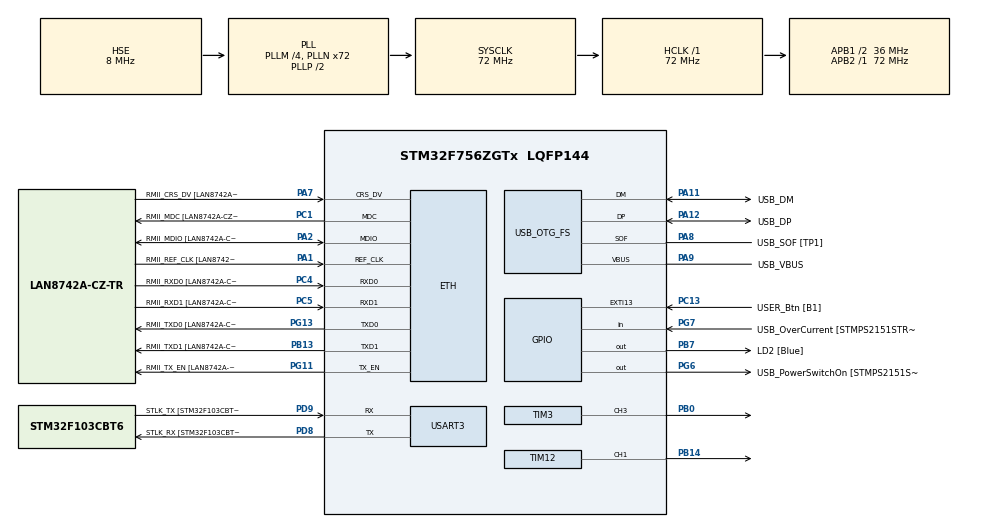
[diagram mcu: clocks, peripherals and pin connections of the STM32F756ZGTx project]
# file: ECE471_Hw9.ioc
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ADC1.Channel-0\#ChannelRegularConversion=ADC_CHANNEL_TEMPSENSOR
ADC1.NbrOfConversionFlag=1
ADC1.Rank-0\#ChannelRegularConversion=1
ADC1.SamplingTime-0\#ChannelRegularConversion=ADC_SAMPLETIME_480CYCLES
ADC1.master=1
ETH.MediaInterface=HAL_ETH_RMII_MODE
ETH.PHY_Name=LAN8742A_PHY_ADDRESS
ETH.PHY_Value=0
ETH.PhyAddress=0
FREERTOS.Tasks01=defaultTask,0,1024,StartDefaultTask,Default,NULL,Dynamic,NULL,NULL
LWIP.BSP.number=1
LWIP.LWIP_HTTPD=1
LWIP.LWIP_HTTPD_CGI=1
LWIP.LWIP_HTTPD_CGI_SSI=0
LWIP.LWIP_HTTPD_SSI=1
LWIP.LWIP_HTTPD_SSI_BY_FILE_EXTENSION=1
LWIP.LWIP_HTTPD_SSI_RAW=1
LWIP.Version=v2.1.2_Cube
LWIP0.BSP.STBoard=false
LWIP0.BSP.api=BSP_COMPONENT_DRIVER
LWIP0.BSP.component=LAN8742
LWIP0.BSP.instance=LAN8742
LWIP0.BSP.name=Driver_PHY
LWIP0.BSP.semaphore=S_LAN8742
LWIP0.BSP.solution=LAN8742
Mcu.Family=STM32F7
Mcu.Name=STM32F756ZGTx
Mcu.Package=LQFP144
NVIC.ETH_IRQn=true\:5\:0\:false\:false\:true\:true\:false\:true\:true
NVIC.PriorityGroup=NVIC_PRIORITYGROUP_4
NVIC.TIM2_IRQn=true\:15\:0\:false\:false\:true\:false\:false\:true\:true
NVIC.TimeBase=TIM2_IRQn
NVIC.TimeBaseIP=TIM2
PA1.GPIO_Label=RMII_REF_CLK [LAN8742A-CZ-TR_REFCLK0]
PA1.Mode=RMII
PA1.Signal=ETH_REF_CLK
PA10.GPIO_Label=USB_ID
PA10.Signal=USB_OTG_FS_ID
PA11.GPIO_Label=USB_DM
PA11.Mode=Device_Only
PA11.Signal=USB_OTG_FS_DM
PA12.GPIO_Label=USB_DP
PA12.Mode=Device_Only
PA12.Signal=USB_OTG_FS_DP
PA13.GPIO_Label=TMS
PA13.Mode=Serial_Wire
PA13.Signal=SYS_JTMS-SWDIO
PA14.GPIO_Label=TCK
PA14.Mode=Serial_Wire
PA14.Signal=SYS_JTCK-SWCLK
PA2.GPIO_Label=RMII_MDIO [LAN8742A-CZ-TR_MDIO]
PA2.Mode=RMII
PA2.Signal=ETH_MDIO
PA7.GPIO_Label=RMII_CRS_DV [LAN8742A-CZ-TR_CRS_DV]
PA7.Mode=RMII
PA7.Signal=ETH_CRS_DV
PA8.GPIO_Label=USB_SOF [TP1]
PA8.Mode=Activate_SOF_FS
PA8.Signal=USB_OTG_FS_SOF
PA9.GPIO_Label=USB_VBUS
PA9.Mode=Activate_VBUS
PA9.Signal=USB_OTG_FS_VBUS
PB0.Signal=S_TIM3_CH3
PB13.GPIO_Label=RMII_TXD1 [LAN8742A-CZ-TR_TXD1]
PB13.Mode=RMII
PB13.Signal=ETH_TXD1
PB14.Signal=S_TIM12_CH1
PB3.GPIO_Label=SW0
PB3.Signal=SYS_JTDO-SWO
PB7.GPIO_Label=LD2 [Blue]
PB7.Signal=GPIO_Output
PC1.GPIO_Label=RMII_MDC [LAN8742A-CZ-TR_MDC]
PC1.Mode=RMII
PC1.Signal=ETH_MDC
PC13.GPIO_Label=USER_Btn [B1]
PC13.Signal=GPXTI13
PC14/OSC32_IN.Mode=LSE-External-Oscillator
PC14/OSC32_IN.Signal=RCC_OSC32_IN
PC15/OSC32_OUT.Mode=LSE-External-Oscillator
PC15/OSC32_OUT.Signal=RCC_OSC32_OUT
PC4.GPIO_Label=RMII_RXD0 [LAN8742A-CZ-TR_RXD0]
PC4.Mode=RMII
PC4.Signal=ETH_RXD0
PC5.GPIO_Label=RMII_RXD1 [LAN8742A-CZ-TR_RXD1]
PC5.Mode=RMII
PC5.Signal=ETH_RXD1
PD8.GPIO_Label=STLK_RX [STM32F103CBT6_PA3]
PD8.Mode=Asynchronous
PD8.Signal=USART3_TX
PD9.GPIO_Label=STLK_TX [STM32F103CBT6_PA2]
PD9.Mode=Asynchronous
PD9.Signal=USART3_RX
PG11.GPIO_Label=RMII_TX_EN [LAN8742A-CZ-TR_TXEN]
PG11.Mode=RMII
PG11.Signal=ETH_TX_EN
PG13.GPIO_Label=RMII_TXD0 [LAN8742A-CZ-TR_TXD0]
PG13.Mode=RMII
PG13.Signal=ETH_TXD0
PG6.GPIO_Label=USB_PowerSwitchOn [STMPS2151STR_EN]
PG6.Signal=GPIO_Output
PG7.GPIO_Label=USB_OverCurrent [STMPS2151STR_FAULT]
PG7.Signal=GPIO_Input
PH0/OSC_IN.GPIO_Label=MCO [STM32F103CBT6_PA8]
PH0/OSC_IN.Mode=HSE-External-Clock-Source
PH0/OSC_IN.Signal=RCC_OSC_IN
PH1/OSC_OUT.Mode=HSE-External-Clock-Source
PH1/OSC_OUT.Signal=RCC_OSC_OUT
ProjectManager.HeapSize=0x200
ProjectManager.StackSize=0x400
ProjectManager.TargetToolchain=STM32CubeIDE
RCC.48MHZClocksFreq_Value=24000000
RCC.AHBFreq_Value=72000000
RCC.APB1CLKDivider=RCC_HCLK_DIV2
RCC.APB1Freq_Value=36000000
RCC.APB1TimFreq_Value=72000000
RCC.APB2Freq_Value=72000000
RCC.APB2TimFreq_Value=72000000
RCC.CortexFreq_Value=72000000
RCC.HCLKFreq_Value=72000000
RCC.HSE_VALUE=8000000
RCC.HSI_VALUE=16000000
RCC.PLLM=4
RCC.PLLMUL=RCC_PLL_MUL9
RCC.PLLN=72
RCC.PLLQ=3
RCC.PRESCALERUSB=RCC_USBCLKSOURCE_PLL_DIV1_5
RCC.SYSCLKFreq_VALUE=72000000
RCC.SYSCLKSource=RCC_SYSCLKSOURCE_PLLCLK
RCC.SYSCLKSourceVirtual=RCC_SYSCLKSOURCE_PLLCLK
RCC.USBFreq_Value=48000000
RCC.VCOOutputFreq_Value=144000000
SH.S_TIM12_CH1.0=TIM12_CH1,PWM Generation1 CH1
SH.S_TIM3_CH3.0=TIM3_CH3,PWM Generation3 CH3
TIM12.Channel-PWM\ Generation1\ CH1=TIM_CHANNEL_1
TIM3.Channel-PWM\ Generation3\ CH3=TIM_CHANNEL_3
USART3.VirtualMode-Asynchronous=VM_ASYNC
USB_OTG_FS.VirtualMode=Device_Only
VP_ADC1_TempSens_Input.Mode=IN-TempSens
VP_FREERTOS_VS_CMSIS_V1.Mode=CMSIS_V1
VP_LWIP_VS_Enabled.Mode=Enabled
VP_SYS_VS_tim2.Mode=TIM2
VP_TIM12_VS_ClockSourceINT.Mode=Internal
VP_TIM3_VS_ClockSourceINT.Mode=Internal
board=NUCLEO-F756ZG

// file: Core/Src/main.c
/* USER CODE BEGIN Header */
/**
  ******************************************************************************
  * @file           : main.c
  * @brief          : Main program body
  ******************************************************************************
  * @attention
  *
  * Copyright (c) 2023 STMicroelectronics.
  * All rights reserved.
  *
  * This software is licensed under terms that can be found in the LICENSE file
  * in the root directory of this software component.
  * If no LICENSE file comes with this software, it is provided AS-IS.
  *
  ******************************************************************************
  */
/* USER CODE END Header */
#include "main.h"
#include "cmsis_os.h"
#include "lwip.h"

/* USER CODE BEGIN Includes */
#include "lwip/apps/httpd.h"
#include <string.h>
/* USER CODE END Includes */

/* USER CODE BEGIN PTD */
enum led {
	red,
	green
};

static enum led redLed = red;
static enum led greenLed = green;
static uint32_t temp =0;
static int max = 65535;

void setPWM(enum led led, int value);
/* USER CODE END PTD */

/* USER CODE BEGIN PD */
//function sets PWM to a desired value from 0 - 11
void setPWM(enum led led, int value){

	int dutyCycle = 0;

		switch(value){	//set the duty cycle
			case 1:
				dutyCycle =(max/10);
				break;
			case 2:
				dutyCycle =2*(max/10);
				break;
			case 3:
				dutyCycle =3*(max/10);
				break;
			case 4:
				dutyCycle =4*(max/10);
				break;
			case 5:
				dutyCycle =5*(max/10);
				break;
			case 6:
				dutyCycle =6*(max/10);
				break;
			case 7:
				dutyCycle =7*(max/10);
				break;
			default:
				dutyCycle =3*(max/10);
		}
		//make sure duty cycle stays within the range
		if(value>7){
			dutyCycle =7*(max/10);
		}
		else if(value<1){
			dutyCycle =(max/10);
		}

		if(led == green){
			TIM3->CCR3 = dutyCycle;
		}

		else if (led == red){
			TIM12->CCR1 = dutyCycle;
		}
}
/* USER CODE END PD */

ADC_HandleTypeDef hadc1;

TIM_HandleTypeDef htim3;
TIM_HandleTypeDef htim12;

UART_HandleTypeDef huart3;

PCD_HandleTypeDef hpcd_USB_OTG_FS;

osThreadId defaultTaskHandle;

void SystemClock_Config(void);
static void MX_GPIO_Init(void);
static void MX_USART3_UART_Init(void);
static void MX_USB_OTG_FS_PCD_Init(void);
static void MX_ADC1_Init(void);
static void MX_TIM3_Init(void);
static void MX_TIM12_Init(void);
void StartDefaultTask(void const * argument);

/* USER CODE BEGIN 0 */
#define custom_SSI_tag_num 1
const char* custom_SSI_tags[custom_SSI_tag_num] = {"ltemp"};

uint16_t custom_SSI_handler(const char* ssi_tag_name, char *pcInsert, int iInsertLen)
{
  if ( iInsertLen < 10 ) {
      // if the buffer size is smaller than the longest response then indicate an error
      return(-1);
  }

  if (strcmp(ssi_tag_name, custom_SSI_tags[0])==0) {
	  char buffer[6];

          strcpy(pcInsert,itoa(temp, buffer,10));

      return(strlen(pcInsert));
  }
else {
      // otherwise, return unrecognized tag error
    return(-1);
  }

}

/*
 * Function pointer for a CGI script handler.
 *
 * The function should return a pointer to a character string which is the
 * path and filename of the response that is to be sent to the connected
 * browser, for example "/thanks.htm" or "/response/error.ssi".
 *
 * Requests intended for use by this CGI mechanism must be sent using the GET
 * method (which encodes all parameters within the URI rather than in a block
 * later in the request). Attempts to use the POST method will result in the
 * request being ignored.
 *
 */

const char * setRED(int iIndex, int iNumParams, char *pcParam[], char *pcValue[])
{

	  if (iNumParams==1) {
	        setPWM(redLed, atoi(pcValue[0]));
		}
    return("/index.shtml");
}

const char * setGRN(int iIndex, int iNumParams, char *pcParam[], char *pcValue[])
{

    if (iNumParams==1) {
        setPWM(greenLed, atoi(pcValue[0]));
	}

    return("/index.shtml");
}

const char * setBLU(int iIndex, int iNumParams, char *pcParam[], char *pcValue[])
{
    if (iNumParams==1) {
        if (atoi(pcValue[0])==1) {
            HAL_GPIO_WritePin(GPIOB, GPIO_PIN_14, GPIO_PIN_SET);

        } else {
            HAL_GPIO_WritePin(GPIOB, GPIO_PIN_14, GPIO_PIN_RESET);
        }
    }
    return("/index.shtml");
}

const char * setALL(int iIndex, int iNumParams, char *pcParam[], char *pcValue[])
{
    // Warning: use atoi_r instead of atoi in case you also use this function inside a RTOS task
    for (int i=0; i<iNumParams; i++) {
        if (strcmp(pcParam[i],"red")==0) {

        	setPWM(redLed, atoi(pcValue[i]));

        } else if (strcmp(pcParam[i],"green")==0) {

			setPWM(greenLed, atoi(pcValue[i]));

        } else if (strcmp(pcParam[i],"blue")==0) {
            if (atoi(pcValue[i])==1) {
                HAL_GPIO_WritePin(GPIOB, GPIO_PIN_7, GPIO_PIN_SET);
            } else {
                HAL_GPIO_WritePin(GPIOB, GPIO_PIN_7, GPIO_PIN_RESET);
            }
        } // else invalid parameters are simply ignored in this example
    }
    // we return the status page as confirmation in this example
    return("/index.shtml");
}

#define custon_CGI_handler_num 4
const tCGI custom_CGI_handlers[custon_CGI_handler_num] = {
    //  file name   function called
    {"/setall.cgi",   setALL},
    {"/setred.cgi",   setRED},
    {"/setgreen.cgi", setGRN},
    {"/setblue.cgi",  setBLU}
};

/* USER CODE END 0 */

int main(void)
{

  /* MCU Configuration--------------------------------------------------------*/

  /* Reset of all peripherals, Initializes the Flash interface and the Systick. */
  HAL_Init();

  /* Configure the system clock */
  SystemClock_Config();

  /* Initialize all configured peripherals */
  MX_GPIO_Init();
  MX_USART3_UART_Init();
  MX_USB_OTG_FS_PCD_Init();
  MX_ADC1_Init();
  MX_TIM3_Init();
  MX_TIM12_Init();

  /* Create the thread(s) */
  /* definition and creation of defaultTask */
  osThreadDef(defaultTask, StartDefaultTask, osPriorityNormal, 0, 1024);
  defaultTaskHandle = osThreadCreate(osThread(defaultTask), NULL);

  /* Start scheduler */
  osKernelStart();
  /* We should never get here as control is now taken by the scheduler */
  /* Infinite loop */
  while (1)
  {

  }
}

void SystemClock_Config(void)
{
  RCC_OscInitTypeDef RCC_OscInitStruct = {0};
  RCC_ClkInitTypeDef RCC_ClkInitStruct = {0};

  /** Configure LSE Drive Capability
  */
  HAL_PWR_EnableBkUpAccess();

  /** Configure the main internal regulator output voltage
  */
  __HAL_RCC_PWR_CLK_ENABLE();
  __HAL_PWR_VOLTAGESCALING_CONFIG(PWR_REGULATOR_VOLTAGE_SCALE3);

  /** Initializes the RCC Oscillators according to the specified parameters
  * in the RCC_OscInitTypeDef structure.
  */
  RCC_OscInitStruct.OscillatorType = RCC_OSCILLATORTYPE_HSE;
  RCC_OscInitStruct.HSEState = RCC_HSE_BYPASS;
  RCC_OscInitStruct.PLL.PLLState = RCC_PLL_ON;
  RCC_OscInitStruct.PLL.PLLSource = RCC_PLLSOURCE_HSE;
  RCC_OscInitStruct.PLL.PLLM = 4;
  RCC_OscInitStruct.PLL.PLLN = 72;
  RCC_OscInitStruct.PLL.PLLP = RCC_PLLP_DIV2;
  RCC_OscInitStruct.PLL.PLLQ = 3;
  if (HAL_RCC_OscConfig(&RCC_OscInitStruct) != HAL_OK)
  {
    Error_Handler();
  }

  /** Initializes the CPU, AHB and APB buses clocks
  */
  RCC_ClkInitStruct.ClockType = RCC_CLOCKTYPE_HCLK|RCC_CLOCKTYPE_SYSCLK
                              |RCC_CLOCKTYPE_PCLK1|RCC_CLOCKTYPE_PCLK2;
  RCC_ClkInitStruct.SYSCLKSource = RCC_SYSCLKSOURCE_PLLCLK;
  RCC_ClkInitStruct.AHBCLKDivider = RCC_SYSCLK_DIV1;
  RCC_ClkInitStruct.APB1CLKDivider = RCC_HCLK_DIV2;
  RCC_ClkInitStruct.APB2CLKDivider = RCC_HCLK_DIV1;

  if (HAL_RCC_ClockConfig(&RCC_ClkInitStruct, FLASH_LATENCY_2) != HAL_OK)
  {
    Error_Handler();
  }
}

static void MX_ADC1_Init(void)
{

  ADC_ChannelConfTypeDef sConfig = {0};

  /** Configure the global features of the ADC (Clock, Resolution, Data Alignment and number of conversion)
  */
  hadc1.Instance = ADC1;
  hadc1.Init.ClockPrescaler = ADC_CLOCK_SYNC_PCLK_DIV2;
  hadc1.Init.Resolution = ADC_RESOLUTION_12B;
  hadc1.Init.ScanConvMode = ADC_SCAN_DISABLE;
  hadc1.Init.ContinuousConvMode = DISABLE;
  hadc1.Init.DiscontinuousConvMode = DISABLE;
  hadc1.Init.ExternalTrigConvEdge = ADC_EXTERNALTRIGCONVEDGE_NONE;
  hadc1.Init.ExternalTrigConv = ADC_SOFTWARE_START;
  hadc1.Init.DataAlign = ADC_DATAALIGN_RIGHT;
  hadc1.Init.NbrOfConversion = 1;
  hadc1.Init.DMAContinuousRequests = DISABLE;
  hadc1.Init.EOCSelection = ADC_EOC_SINGLE_CONV;
  if (HAL_ADC_Init(&hadc1) != HAL_OK)
  {
    Error_Handler();
  }

  /** Configure for the selected ADC regular channel its corresponding rank in the sequencer and its sample time.
  */
  sConfig.Channel = ADC_CHANNEL_TEMPSENSOR;
  sConfig.Rank = ADC_REGULAR_RANK_1;
  sConfig.SamplingTime = ADC_SAMPLETIME_480CYCLES;
  if (HAL_ADC_ConfigChannel(&hadc1, &sConfig) != HAL_OK)
  {
    Error_Handler();
  }

}

static void MX_TIM3_Init(void)
{

  TIM_ClockConfigTypeDef sClockSourceConfig = {0};
  TIM_MasterConfigTypeDef sMasterConfig = {0};
  TIM_OC_InitTypeDef sConfigOC = {0};

  htim3.Instance = TIM3;
  htim3.Init.Prescaler = 0;
  htim3.Init.CounterMode = TIM_COUNTERMODE_UP;
  htim3.Init.Period = 65535;
  htim3.Init.ClockDivision = TIM_CLOCKDIVISION_DIV1;
  htim3.Init.AutoReloadPreload = TIM_AUTORELOAD_PRELOAD_DISABLE;
  if (HAL_TIM_Base_Init(&htim3) != HAL_OK)
  {
    Error_Handler();
  }
  sClockSourceConfig.ClockSource = TIM_CLOCKSOURCE_INTERNAL;
  if (HAL_TIM_ConfigClockSource(&htim3, &sClockSourceConfig) != HAL_OK)
  {
    Error_Handler();
  }
  if (HAL_TIM_PWM_Init(&htim3) != HAL_OK)
  {
    Error_Handler();
  }
  sMasterConfig.MasterOutputTrigger = TIM_TRGO_RESET;
  sMasterConfig.MasterSlaveMode = TIM_MASTERSLAVEMODE_DISABLE;
  if (HAL_TIMEx_MasterConfigSynchronization(&htim3, &sMasterConfig) != HAL_OK)
  {
    Error_Handler();
  }
  sConfigOC.OCMode = TIM_OCMODE_PWM1;
  sConfigOC.Pulse = 0;
  sConfigOC.OCPolarity = TIM_OCPOLARITY_HIGH;
  sConfigOC.OCFastMode = TIM_OCFAST_DISABLE;
  if (HAL_TIM_PWM_ConfigChannel(&htim3, &sConfigOC, TIM_CHANNEL_3) != HAL_OK)
  {
    Error_Handler();
  }
  HAL_TIM_MspPostInit(&htim3);

}

static void MX_TIM12_Init(void)
{

  TIM_ClockConfigTypeDef sClockSourceConfig = {0};
  TIM_OC_InitTypeDef sConfigOC = {0};

  htim12.Instance = TIM12;
  htim12.Init.Prescaler = 0;
  htim12.Init.CounterMode = TIM_COUNTERMODE_UP;
  htim12.Init.Period = 65535;
  htim12.Init.ClockDivision = TIM_CLOCKDIVISION_DIV1;
  htim12.Init.AutoReloadPreload = TIM_AUTORELOAD_PRELOAD_DISABLE;
  if (HAL_TIM_Base_Init(&htim12) != HAL_OK)
  {
    Error_Handler();
  }
  sClockSourceConfig.ClockSource = TIM_CLOCKSOURCE_INTERNAL;
  if (HAL_TIM_ConfigClockSource(&htim12, &sClockSourceConfig) != HAL_OK)
  {
    Error_Handler();
  }
  if (HAL_TIM_PWM_Init(&htim12) != HAL_OK)
  {
    Error_Handler();
  }
  sConfigOC.OCMode = TIM_OCMODE_PWM1;
  sConfigOC.Pulse = 0;
  sConfigOC.OCPolarity = TIM_OCPOLARITY_HIGH;
  sConfigOC.OCFastMode = TIM_OCFAST_DISABLE;
  if (HAL_TIM_PWM_ConfigChannel(&htim12, &sConfigOC, TIM_CHANNEL_1) != HAL_OK)
  {
    Error_Handler();
  }
  HAL_TIM_MspPostInit(&htim12);

}

static void MX_USART3_UART_Init(void)
{

  huart3.Instance = USART3;
  huart3.Init.BaudRate = 115200;
  huart3.Init.WordLength = UART_WORDLENGTH_8B;
  huart3.Init.StopBits = UART_STOPBITS_1;
  huart3.Init.Parity = UART_PARITY_NONE;
  huart3.Init.Mode = UART_MODE_TX_RX;
  huart3.Init.HwFlowCtl = UART_HWCONTROL_NONE;
  huart3.Init.OverSampling = UART_OVERSAMPLING_16;
  huart3.Init.OneBitSampling = UART_ONE_BIT_SAMPLE_DISABLE;
  huart3.AdvancedInit.AdvFeatureInit = UART_ADVFEATURE_NO_INIT;
  if (HAL_UART_Init(&huart3) != HAL_OK)
  {
    Error_Handler();
  }

}

static void MX_USB_OTG_FS_PCD_Init(void)
{

  hpcd_USB_OTG_FS.Instance = USB_OTG_FS;
  hpcd_USB_OTG_FS.Init.dev_endpoints = 6;
  hpcd_USB_OTG_FS.Init.speed = PCD_SPEED_FULL;
  hpcd_USB_OTG_FS.Init.dma_enable = DISABLE;
  hpcd_USB_OTG_FS.Init.phy_itface = PCD_PHY_EMBEDDED;
  hpcd_USB_OTG_FS.Init.Sof_enable = ENABLE;
  hpcd_USB_OTG_FS.Init.low_power_enable = DISABLE;
  hpcd_USB_OTG_FS.Init.lpm_enable = DISABLE;
  hpcd_USB_OTG_FS.Init.vbus_sensing_enable = ENABLE;
  hpcd_USB_OTG_FS.Init.use_dedicated_ep1 = DISABLE;
  if (HAL_PCD_Init(&hpcd_USB_OTG_FS) != HAL_OK)
  {
    Error_Handler();
  }

}

static void MX_GPIO_Init(void)
{
  GPIO_InitTypeDef GPIO_InitStruct = {0};

  /* GPIO Ports Clock Enable */
  __HAL_RCC_GPIOC_CLK_ENABLE();
  __HAL_RCC_GPIOH_CLK_ENABLE();
  __HAL_RCC_GPIOA_CLK_ENABLE();
  __HAL_RCC_GPIOB_CLK_ENABLE();
  __HAL_RCC_GPIOD_CLK_ENABLE();
  __HAL_RCC_GPIOG_CLK_ENABLE();

  /*Configure GPIO pin Output Level */
  HAL_GPIO_WritePin(USB_PowerSwitchOn_GPIO_Port, USB_PowerSwitchOn_Pin, GPIO_PIN_RESET);

  /*Configure GPIO pin Output Level */
  HAL_GPIO_WritePin(LD2_GPIO_Port, LD2_Pin, GPIO_PIN_RESET);

  /*Configure GPIO pin : USER_Btn_Pin */
  GPIO_InitStruct.Pin = USER_Btn_Pin;
  GPIO_InitStruct.Mode = GPIO_MODE_IT_RISING;
  GPIO_InitStruct.Pull = GPIO_NOPULL;
  HAL_GPIO_Init(USER_Btn_GPIO_Port, &GPIO_InitStruct);

  /*Configure GPIO pin : USB_PowerSwitchOn_Pin */
  GPIO_InitStruct.Pin = USB_PowerSwitchOn_Pin;
  GPIO_InitStruct.Mode = GPIO_MODE_OUTPUT_PP;
  GPIO_InitStruct.Pull = GPIO_NOPULL;
  GPIO_InitStruct.Speed = GPIO_SPEED_FREQ_LOW;
  HAL_GPIO_Init(USB_PowerSwitchOn_GPIO_Port, &GPIO_InitStruct);

  /*Configure GPIO pin : USB_OverCurrent_Pin */
  GPIO_InitStruct.Pin = USB_OverCurrent_Pin;
  GPIO_InitStruct.Mode = GPIO_MODE_INPUT;
  GPIO_InitStruct.Pull = GPIO_NOPULL;
  HAL_GPIO_Init(USB_OverCurrent_GPIO_Port, &GPIO_InitStruct);

  /*Configure GPIO pin : LD2_Pin */
  GPIO_InitStruct.Pin = LD2_Pin;
  GPIO_InitStruct.Mode = GPIO_MODE_OUTPUT_PP;
  GPIO_InitStruct.Pull = GPIO_NOPULL;
  GPIO_InitStruct.Speed = GPIO_SPEED_FREQ_LOW;
  HAL_GPIO_Init(LD2_GPIO_Port, &GPIO_InitStruct);

}

void StartDefaultTask(void const * argument)
{
  /* init code for LWIP */
  MX_LWIP_Init();
  /* USER CODE BEGIN 5 */

   MX_TIM3_Init();
   MX_TIM12_Init();
   HAL_TIM_PWM_Start(&htim3, TIM_CHANNEL_3);
   HAL_TIM_PWM_Start(&htim12, TIM_CHANNEL_1);
   HAL_ADC_Start(&hadc1);
   HAL_ADC_PollForConversion(&hadc1, HAL_MAX_DELAY);

   uint32_t raw_temp = HAL_ADC_GetValue(&hadc1);
   uint32_t cht_voltage = (raw_temp * 3300U) / 4095U;
  	  temp = 25 + (cht_voltage * 10 - 7600U) / 25;
   setPWM(greenLed, 3);
   setPWM(redLed, 3);
  //set up the web server
  http_set_ssi_handler(custom_SSI_handler, custom_SSI_tags, custom_SSI_tag_num);
  http_set_cgi_handlers(custom_CGI_handlers, custon_CGI_handler_num);
  //start the web server after MX_LWIP_Init() is called
  httpd_init();

  /* Infinite loop */
  for(;;)
  {
    osDelay(1);
  }
  /* USER CODE END 5 */
}

void HAL_TIM_PeriodElapsedCallback(TIM_HandleTypeDef *htim)
{
  if (htim->Instance == TIM2) {
    HAL_IncTick();
  }
}

void Error_Handler(void)
{
  __disable_irq();
  while (1)
  {
  }
}
